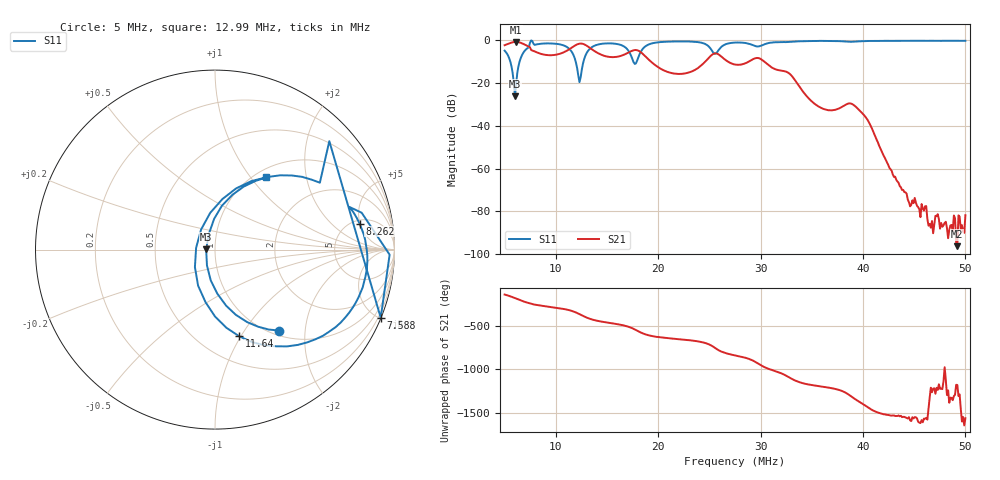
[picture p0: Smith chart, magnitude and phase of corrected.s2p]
! S11/S21 only; reverse parameters are placeholders. Device calibration unverified.
! [Saver CAL applied] C:\Users\aknya\MyProjects\rf-simulator\calibration2.cal | Ideal standards assumed | Input: NanoVNA F V2 profile | COM3 | 2026-09-08T12:07:22.0122053-04:00 | device calibration unverified
# HZ S RI R 50
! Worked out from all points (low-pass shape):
!   401 points, 5 MHz to 50 MHz, reference 50 ohm
!   highest |S21| = -0.68 dB at 6.125 MHz (marker M1); lowest = -96.2 dB at 49.21 MHz (marker M2)
!   |S21| within 3 dB of the highest: start of sweep to 7.52 MHz; 11.46 MHz to 13.39 MHz (1.925 MHz wide, 15.5 % of centre)
!   lowest |S11| = -26.1 dB at 6.013 MHz (marker M3), VSWR 1.10, Z = 45.3 + j0.159 ohm
!   |S11| at or under -10 dB: 5.565 MHz to 6.457 MHz (891.6 kHz wide, 14.8 % of centre); 11.94 MHz to 12.7 MHz (754.7 kHz wide, 6.12 % of centre); 17.58 MHz to 17.89 MHz (309.7 kHz wide, 1.75 % of centre)
!   S12 and S22 are empty: the file has one direction only
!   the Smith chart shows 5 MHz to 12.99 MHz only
!   S11 on the Smith chart (normalised r, x): 5 MHz: 1.09, -1.47; 7.588 MHz: 0.02, -5.06; 8.262 MHz: 5.62, +4.92; 11.64 MHz: 0.76, -0.99; 12.99 MHz: 1.13, +1.20
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5000000  0.3588 -0.4512  -0.5574 -0.5352  0 0  0 0
6012500  -0.0493 0.00175  -0.9219 -0.0427  0 0  0 0
6125000  -0.0338 0.0889  -0.9233 0.0456  0 0  0 0
7587500  0.9233 -0.3798  -0.2928 0.5242  0 0  0 0
8262500  0.8054 0.1448  -0.0994 0.5029  0 0  0 0
1.16375e7  0.1355 -0.4831  0.5934 0.3673  0 0  0 0
1.25375e7  -0.0269 0.2045  0.8087 -0.2326  0 0  0 0
1.29875e7  0.2868 0.4031  0.5719 -0.501  0 0  0 0
1.535e7  0.8187 -0.2352  -0.1117 -0.3927  0 0  0 0
1.6925e7  0.2313 -0.5999  -0.3911 -0.304  0 0  0 0
1.77125e7  -0.2821 -0.0169  -0.5956 -0.00756  0 0  0 0
1.85e7  0.2821 0.5714  -0.3398 0.3424  0 0  0 0
2.0075e7  0.8876 0.1946  -0.00606 0.2293  0 0  0 0
2.53625e7  0.424 -0.3107  0.4585 -0.1448  0 0  0 0
2.75e7  0.8215 -0.3462  -0.1316 -0.2396  0 0  0 0
3.02e7  0.7072 -0.3272  -0.1483 0.3084  0 0  0 0
3.50375e7  0.7042 -0.6673  -0.00802 -0.036  0 0  0 0
3.92e7  0.5483 -0.7632  -0.00406 0.0292  0 0  0 0
4.2575e7  0.4423 -0.8712  7.98e-06 -0.00105  0 0  0 0
4.46e7  0.3618 -0.911  -0.000112 -6.93e-05  0 0  0 0
4.92125e7  0.1856 -0.9654  -2.91e-06 -1.51e-05  0 0  0 0
5e7  0.1575 -0.9663  -4.65e-05 -6.7e-05  0 0  0 0
